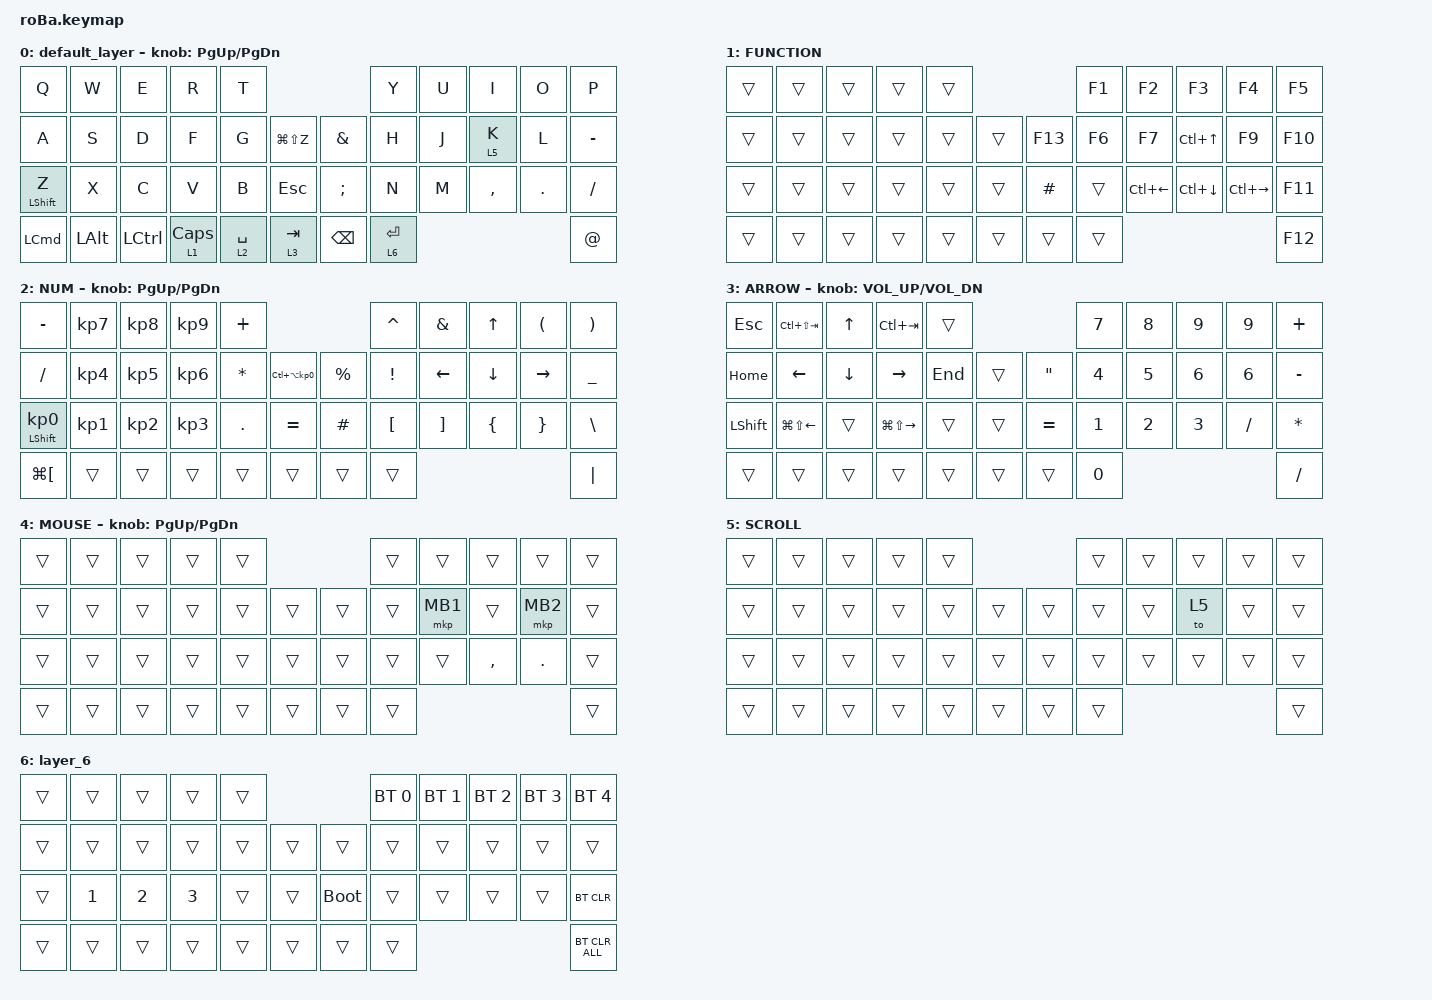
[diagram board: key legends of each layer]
#include <behaviors.dtsi>
#include <dt-bindings/zmk/bt.h>
#include <dt-bindings/zmk/keys.h>
#include <dt-bindings/zmk/pointing.h>

#define MOUSE 4
#define SCROLL 5
#define NUM 6

&mt {
    flavor = "balanced";
    quick-tap-ms = <0>;
};

/ {
    combos {
        compatible = "zmk,combos";

        tab {
            bindings = <&kp TAB>;
            key-positions = <11 12>;
        };

        shift_tab {
            bindings = <&kp LS(TAB)>;
            key-positions = <12 13>;
        };

        muhennkann {
            bindings = <&to_layer_0 INT_MUHENKAN>;
            key-positions = <11 10>;
        };

        double_quotation {
            bindings = <&kp DOUBLE_QUOTES>;
            key-positions = <20 21>;
        };

        eq {
            bindings = <&kp EQUAL>;
            key-positions = <24 25>;
        };
    };

    macros {
        to_layer_0: to_layer_0 {
            compatible = "zmk,behavior-macro-one-param";
            #binding-cells = <1>;
            bindings = <&to 0 &macro_param_1to1 &kp MACRO_PLACEHOLDER>;
            label = "TO_LAYER_0";
        };
    };

    behaviors {
        lt_to_layer_0: lt_to_layer_0 {
            compatible = "zmk,behavior-hold-tap";
            label = "LAYER_TAP_TO_0";
            bindings = <&mo>, <&to_layer_0>;

            #binding-cells = <2>;
            tapping-term-ms = <200>;
        };
    };

    keymap {
        compatible = "zmk,keymap";

        default_layer {
            bindings = <
&kp Q             &kp W         &kp E             &kp R                      &kp T                                                 &kp Y        &kp U  &kp I      &kp O    &kp P
&kp A             &kp S         &kp D             &kp F                      &kp G        &kp LG(LS(Z))             &kp AMPERSAND  &kp H        &kp J  &lt 5 K    &kp L    &kp MINUS
&mt LEFT_SHIFT Z  &kp X         &kp C             &kp V                      &kp B        &kp ESCAPE                &kp SEMICOLON  &kp N        &kp M  &kp COMMA  &kp DOT  &kp SLASH
&kp LEFT_COMMAND  &kp LEFT_ALT  &kp LEFT_CONTROL  &lt_to_layer_0 1 CAPSLOCK  &lt 2 SPACE  &lt_to_layer_0 3 TAB      &kp BACKSPACE  &lt 6 ENTER                             &kp AT_SIGN
            >;

            sensor-bindings = <&inc_dec_kp PG_UP PAGE_DOWN>;
        };

        FUNCTION {
            bindings = <
&trans  &trans  &trans  &trans  &trans                        &kp F1  &kp F2        &kp F3        &kp F4         &kp F5
&trans  &trans  &trans  &trans  &trans  &trans      &kp F13   &kp F6  &kp F7        &kp LC(UP)    &kp F9         &kp F10
&trans  &trans  &trans  &trans  &trans  &trans      &kp HASH  &trans  &kp LC(LEFT)  &kp LC(DOWN)  &kp LC(RIGHT)  &kp F11
&trans  &trans  &trans  &trans  &trans  &trans      &trans    &trans                                             &kp F12
            >;
        };

        NUM {
            bindings = <
&kp MINUS                   &kp KP_NUMBER_7  &kp KP_NUMBER_8  &kp KP_NUMBER_9  &kp PLUS                                                &kp CARET         &kp AMPERSAND      &kp UP_ARROW    &kp LEFT_PARENTHESIS  &kp RIGHT_PARENTHESIS
&kp SLASH                   &kp KP_NUMBER_4  &kp KP_NUMBER_5  &kp KP_NUMBER_6  &kp ASTERISK  &kp LC(LA(KP_NUMBER_0))      &kp PERCENT  &kp EXCLAMATION   &kp LEFT           &kp DOWN_ARROW  &kp RIGHT             &kp UNDER
&mt LEFT_SHIFT KP_NUMBER_0  &kp KP_NUMBER_1  &kp KP_NUMBER_2  &kp KP_NUMBER_3  &kp PERIOD    &kp EQUAL                    &kp HASH     &kp LEFT_BRACKET  &kp RIGHT_BRACKET  &kp LEFT_BRACE  &kp RIGHT_BRACE       &kp BACKSLASH
&kp LG(LEFT_BRACKET)        &trans           &trans           &trans           &trans        &trans                       &trans       &trans                                                                     &kp PIPE
            >;

            sensor-bindings = <&inc_dec_kp PG_UP PG_DN>;
        };

        ARROW {
            bindings = <
&kp ESCAPE      &kp LC(LS(TAB))         &kp UP_ARROW    &kp LC(TAB)              &trans                                  &kp NUMBER_7  &kp NUMBER_8  &kp NUMBER_9  &kp N9        &kp PLUS
&kp HOME        &kp LEFT_ARROW          &kp DOWN_ARROW  &kp RIGHT_ARROW          &kp END  &trans      &kp DOUBLE_QUOTES  &kp NUMBER_4  &kp NUMBER_5  &kp NUMBER_6  &kp NUMBER_6  &kp MINUS
&kp LEFT_SHIFT  &kp LG(LS(LEFT_ARROW))  &trans          &kp LG(LS(RIGHT_ARROW))  &trans   &trans      &kp EQUAL          &kp NUMBER_1  &kp NUMBER_2  &kp NUMBER_3  &kp SLASH     &kp ASTRK
&trans          &trans                  &trans          &trans                   &trans   &trans      &trans             &kp NUMBER_0                                            &kp SLASH
            >;

            sensor-bindings = <&inc_dec_kp C_VOLUME_UP C_VOL_DN>;
        };

        MOUSE {
            bindings = <
&trans  &trans  &trans  &trans  &trans                      &trans  &trans    &trans     &trans    &trans
&trans  &trans  &trans  &trans  &trans  &trans      &trans  &trans  &mkp MB1  &trans     &mkp MB2  &trans
&trans  &trans  &trans  &trans  &trans  &trans      &trans  &trans  &trans    &kp COMMA  &kp DOT   &trans
&trans  &trans  &trans  &trans  &trans  &trans      &trans  &trans                                 &trans
            >;

            sensor-bindings = <&inc_dec_kp PG_UP PG_DN>;
        };

        SCROLL {
            bindings = <
&trans  &trans  &trans  &trans  &trans                      &trans  &trans  &trans  &trans  &trans
&trans  &trans  &trans  &trans  &trans  &trans      &trans  &trans  &trans  &to 5   &trans  &trans
&trans  &trans  &trans  &trans  &trans  &trans      &trans  &trans  &trans  &trans  &trans  &trans
&trans  &trans  &trans  &trans  &trans  &trans      &trans  &trans                          &trans
            >;
        };

        layer_6 {
            bindings = <
&trans  &trans        &trans        &trans        &trans                           &bt BT_SEL 0  &bt BT_SEL 1  &bt BT_SEL 2  &bt BT_SEL 3  &bt BT_SEL 4
&trans  &trans        &trans        &trans        &trans  &trans      &trans       &trans        &trans        &trans        &trans        &trans
&trans  &kp NUMBER_1  &kp NUMBER_2  &kp NUMBER_3  &trans  &trans      &bootloader  &trans        &trans        &trans        &trans        &bt BT_CLR
&trans  &trans        &trans        &trans        &trans  &trans      &trans       &trans                                                  &bt BT_CLR_ALL
            >;
        };
    };
};
